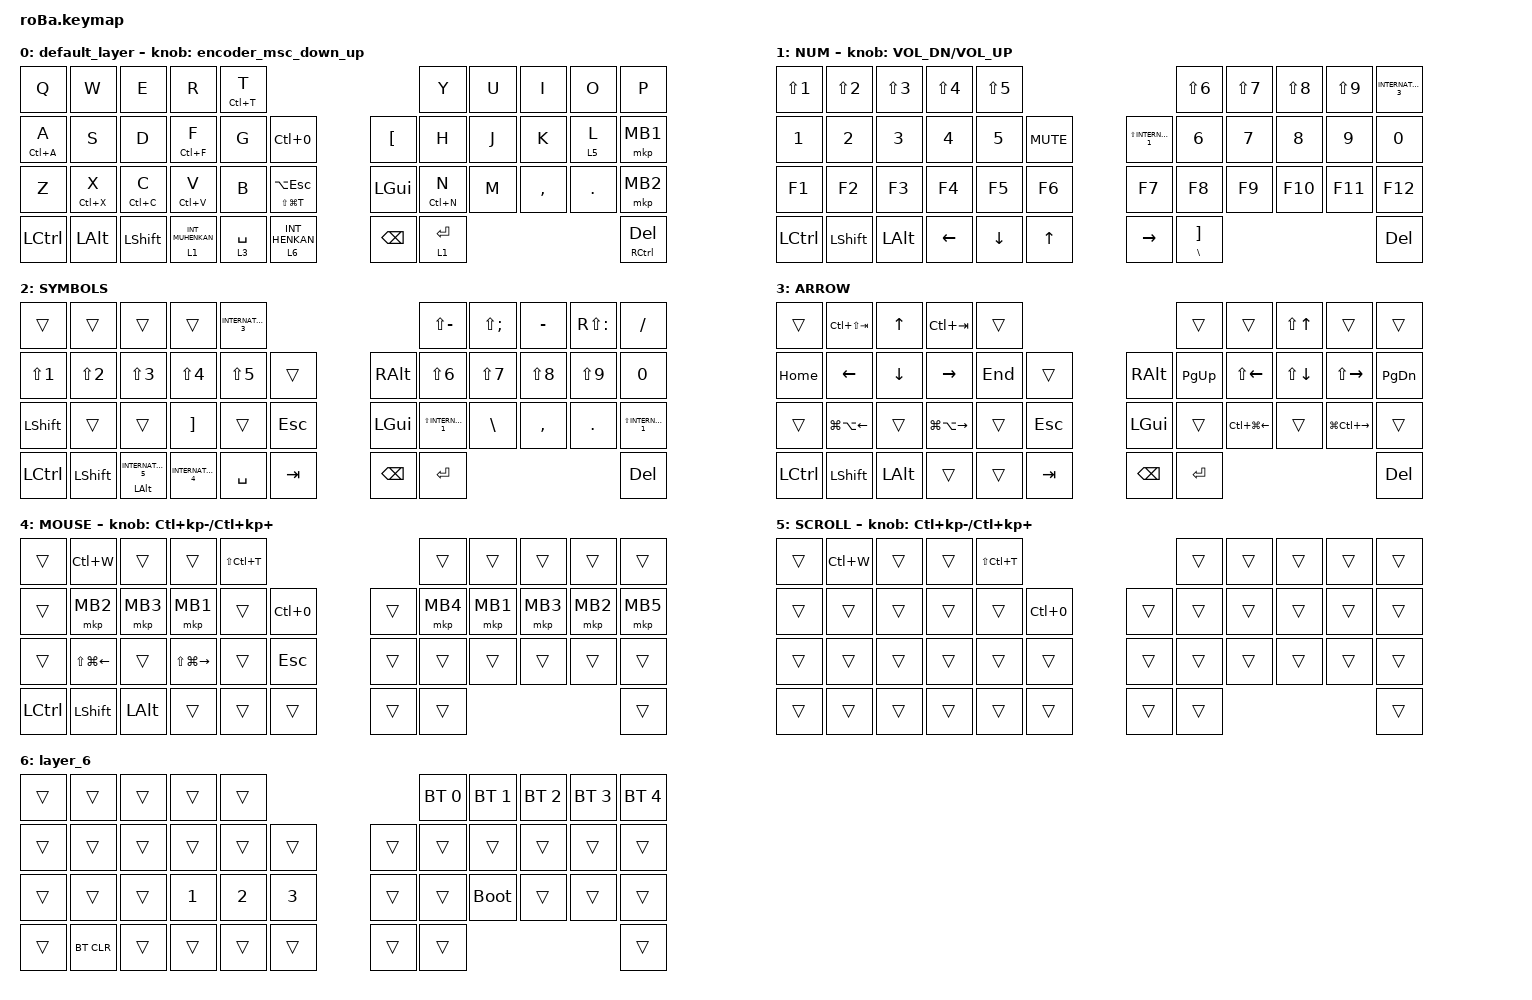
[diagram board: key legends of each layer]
#include <input/processors.dtsi>
#include <dt-bindings/zmk/input_transform.h>
#include <behaviors.dtsi>
#include <dt-bindings/zmk/bt.h>
#include <dt-bindings/zmk/keys.h>
#include <dt-bindings/zmk/pointing.h>

#define ZMK_POINTING_DEFAULT_SCRL_VAL 80

&mt {
    flavor = "balanced";
    quick-tap-ms = <0>;
    tapping-term-ms = <300>;
};

// 【削除】誤爆防止用の &zip_temp_layer は不要になるため削除します
// 【削除】マウスクリック時の &mkp_input_listener も不要になるため削除します

&trackball {
    scroll-layers = <5>; // スクロールレイヤー設定はそのまま残します
};

// ▼▼▼ ルートノード開始 ▼▼▼

/ {
    trackball_listener: trackball_listener {
        compatible = "zmk,input-listener";
        device = <&trackball>;

        // 【変更】レイヤー4への移行指示を消し、スクロール反転（Y_INVERT）だけを残します

        input-processors = <&zip_scroll_transform (INPUT_TRANSFORM_Y_INVERT)>;
    };

    combos {
        compatible = "zmk,combos";

        tab {
            bindings = <&kp TAB>;
            key-positions = <12 13>;
        };

        shift_tab {
            bindings = <&kp LS(TAB)>;
            key-positions = <12 11>;
        };

        atmark {
            bindings = <&kp LEFT_BRACKET>;
            key-positions = <11 1>;
        };

        excmark {
            bindings = <&kp EXCLAMATION>;
            key-positions = <12 24>;
        };

        hyphen {
            bindings = <&kp MINUS>;
            key-positions = <17 29>;
        };

        question {
            bindings = <&kp QUESTION>;
            key-positions = <13 25>;
        };

        del {
            bindings = <&kp DEL>;
            key-positions = <40 41>;
        };

        kara {
            bindings = <&kp LS(EQUAL)>;
            key-positions = <17 5>;
        };

        slash {
            bindings = <&kp SLASH>;
            key-positions = <19 31>;
        };

        asterisk {
            bindings = <&kp KP_ASTERISK>;
            key-positions = <18 30>;
        };

        plus {
            bindings = <&kp KP_PLUS>;
            key-positions = <16 28>;
        };

        eq {
            bindings = <&kp RS(UNDER)>;
            key-positions = <32 20>;
        };

        percent {
            bindings = <&kp LS(N5)>;
            key-positions = <11 23>;
        };

        mclick {
            bindings = <&mkp MB3>;
            key-positions = <21 33>;
        };

        prev {
            bindings = <&mkp MB4>;
            key-positions = <21 20>;
        };

        colon {
            bindings = <&kp APOSTROPHE>;
            key-positions = <7 19>;
        };

        semicolon {
            bindings = <&kp SEMI>;
            key-positions = <6 18>;
        };

        lkagi {
            bindings = <&kp BACKSLASH>;
            key-positions = <4 14>;
        };

        rkagi {
            bindings = <&kp RIGHT_BRACKET>;
            key-positions = <3 13>;
        };

        ps {
            bindings = <&kp PRINTSCREEN>;
            key-positions = <9 8>;
        };
    };

    macros {
        to_layer_0: to_layer_0 {
            compatible = "zmk,behavior-macro-one-param";
            #binding-cells = <1>;
            bindings = <&to 0 &macro_param_1to1 &kp MACRO_PLACEHOLDER>;
            label = "TO_LAYER_0";
        };
    };

    behaviors {
        lt_to_layer_0: lt_to_layer_0 {
            compatible = "zmk,behavior-hold-tap";
            label = "LAYER_TAP_TO_0";
            bindings = <&mo>, <&to_layer_0>;

            #binding-cells = <2>;
            tapping-term-ms = <200>;

            encoder_msc_down_up: encoder_msc_down_up {
                compatible = "zmk,behavior-sensor-rotate";
                label = "ENCODER_MSC_DOWN_UP";
                #sensor-binding-cells = <0>;
                bindings = <&msc SCRL_DOWN>, <&msc SCRL_UP>;

                tap-ms = <20>;
            };
        };
    };

    keymap {
        compatible = "zmk,keymap";

        default_layer {
            bindings = <
&kp Q             &kp W         &kp E           &kp R                          &mt LC(T) T                                                     &kp Y        &kp U  &kp I      &kp O    &kp P
&mt LC(A) A       &kp S         &kp D           &mt LC(F) F                    &kp G        &kp LC(N0)                       &kp LEFT_BRACKET  &kp H        &kp J  &kp K      &lt 5 L  &mkp MB1
&kp Z             &mt LC(X) X   &mt LC(C) C     &mt LC(V) V                    &kp B        &mt LS(LG(T)) LA(ESCAPE)         &kp LEFT_GUI      &mt LC(N) N  &kp M  &kp COMMA  &kp DOT  &mkp MB2
&kp LEFT_CONTROL  &kp LEFT_ALT  &kp LEFT_SHIFT  &lt_to_layer_0 1 INT_MUHENKAN  &lt 3 SPACE  &lt_to_layer_0 6 INT_HENKAN      &kp BACKSPACE     &lt 1 ENTER                             &mt RCTRL DEL
            >;

            sensor-bindings = <&encoder_msc_down_up>;
        };

        NUM {
            bindings = <
&kp LS(N1)        &kp LS(N2)      &kp LS(N3)    &kp LS(N4)      &kp LS(N5)                                                 &kp LS(N6)                   &kp LS(N7)    &kp LS(N8)    &kp LS(N9)    &kp INTERNATIONAL_3
&kp NUMBER_1      &kp NUMBER_2    &kp NUMBER_3  &kp NUMBER_4    &kp NUMBER_5    &kp C_MUTE        &kp LS(INTERNATIONAL_1)  &kp NUMBER_6                 &kp NUMBER_7  &kp NUMBER_8  &kp NUMBER_9  &kp NUMBER_0
&kp F1            &kp F2          &kp F3        &kp F4          &kp F5          &kp F6            &kp F7                   &kp F8                       &kp F9        &kp F10       &kp F11       &kp F12
&kp LEFT_CONTROL  &kp LEFT_SHIFT  &kp LEFT_ALT  &kp LEFT_ARROW  &kp DOWN_ARROW  &kp UP_ARROW      &kp RIGHT_ARROW          &mt BACKSLASH RIGHT_BRACKET                                            &kp DEL
            >;

            sensor-bindings = <&inc_dec_kp C_VOL_DN C_VOLUME_UP>;
        };

        SYMBOLS {
            bindings = <
&trans            &trans          &trans                        &trans               &kp INTERNATIONAL_3                                 &kp LS(MINUS)            &kp LS(SEMICOLON)  &kp MINUS   &kp RS(COLON)  &kp SLASH
&kp LS(N1)        &kp LS(N2)      &kp LS(N3)                    &kp LS(N4)           &kp LS(N5)           &trans          &kp RIGHT_ALT  &kp LS(N6)               &kp LS(N7)         &kp LS(N8)  &kp LS(N9)     &kp N0
&kp LEFT_SHIFT    &trans          &trans                        &kp RIGHT_BRACKET    &trans               &kp ESCAPE      &kp LEFT_GUI   &kp LS(INTERNATIONAL_1)  &kp BACKSLASH      &kp COMMA   &kp PERIOD     &kp LS(INTERNATIONAL_1)
&kp LEFT_CONTROL  &kp LEFT_SHIFT  &mt LEFT_ALT INTERNATIONAL_5  &kp INTERNATIONAL_4  &kp SPACE            &kp TAB         &kp BACKSPACE  &kp RET                                                                &kp DEL
            >;
        };

        ARROW {
            bindings = <
&trans     &kp LC(LS(TAB))         &kp UP_ARROW    &kp LC(TAB)              &trans                                  &trans       &trans                  &kp LS(UP_ARROW)    &trans                   &trans
&kp HOME   &kp LEFT_ARROW          &kp DOWN_ARROW  &kp RIGHT_ARROW          &kp END  &trans          &kp RIGHT_ALT  &kp PAGE_UP  &kp LS(LEFT_ARROW)      &kp LS(DOWN_ARROW)  &kp LS(RIGHT_ARROW)      &kp PAGE_DOWN
&trans     &kp LG(LA(LEFT_ARROW))  &trans          &kp LG(LA(RIGHT_ARROW))  &trans   &kp ESCAPE      &kp LEFT_GUI   &trans       &kp LC(LG(LEFT_ARROW))  &trans              &kp LG(LC(RIGHT_ARROW))  &trans
&kp LCTRL  &kp LEFT_SHIFT          &kp LEFT_ALT    &trans                   &trans   &kp TAB         &kp BACKSPACE  &kp ENTER                                                                         &kp DEL
            >;
        };

        MOUSE {
            bindings = <
&trans     &kp LC(W)               &trans        &trans                   &kp LS(LC(T))                          &trans    &trans    &trans    &trans    &trans
&trans     &mkp MB2                &mkp MB3      &mkp MB1                 &trans         &kp LC(N0)      &trans  &mkp MB4  &mkp MB1  &mkp MB3  &mkp MB2  &mkp MB5
&trans     &kp LS(LG(LEFT_ARROW))  &trans        &kp LS(LG(RIGHT_ARROW))  &trans         &kp ESCAPE      &trans  &trans    &trans    &trans    &trans    &trans
&kp LCTRL  &kp LEFT_SHIFT          &kp LEFT_ALT  &trans                   &trans         &trans          &trans  &trans                                  &trans
            >;

            sensor-bindings = <&inc_dec_kp LC(KP_MINUS) LC(KP_PLUS)>;
        };

        SCROLL {
            bindings = <
&trans  &kp LC(W)  &trans  &trans  &kp LS(LC(T))                          &trans  &trans  &trans  &trans  &trans
&trans  &trans     &trans  &trans  &trans         &kp LC(N0)      &trans  &trans  &trans  &trans  &trans  &trans
&trans  &trans     &trans  &trans  &trans         &trans          &trans  &trans  &trans  &trans  &trans  &trans
&trans  &trans     &trans  &trans  &trans         &trans          &trans  &trans                          &trans
            >;

            sensor-bindings = <&inc_dec_kp LC(KP_MINUS) LC(KP_PLUS)>;
        };

        layer_6 {
            bindings = <
&trans  &trans      &trans  &trans        &trans                                  &bt BT_SEL 0  &bt BT_SEL 1  &bt BT_SEL 2  &bt BT_SEL 3  &bt BT_SEL 4
&trans  &trans      &trans  &trans        &trans        &trans            &trans  &trans        &trans        &trans        &trans        &trans
&trans  &trans      &trans  &kp NUMBER_1  &kp NUMBER_2  &kp NUMBER_3      &trans  &trans        &bootloader   &trans        &trans        &trans
&trans  &bt BT_CLR  &trans  &trans        &trans        &trans            &trans  &trans                                                  &trans
            >;
        };
    };
};

// ▲▲▲ ルートノード終了 ▲▲▲
